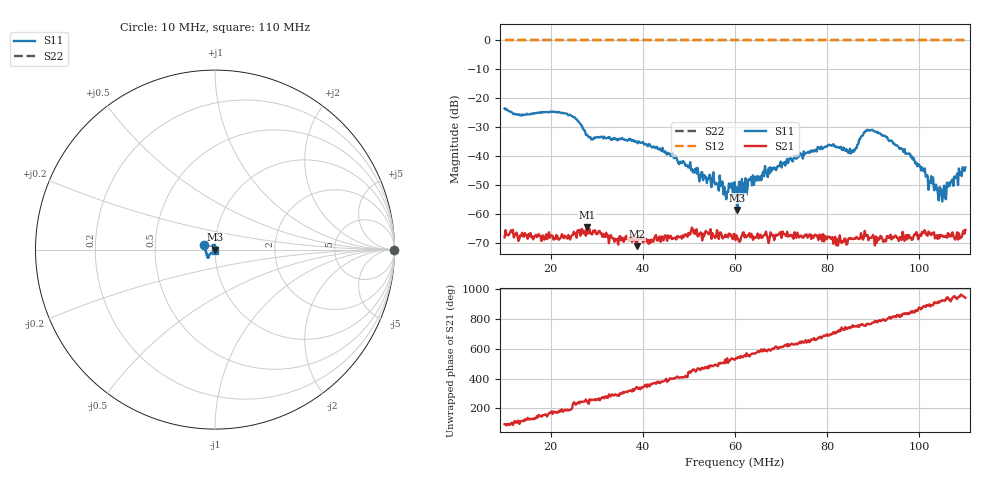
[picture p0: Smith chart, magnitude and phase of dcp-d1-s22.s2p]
! Anritsu VNA Master:  Model: MS2034B/10/19/501
! SN:  1337062
! /bd0/ovro-jan-2016/dcp-d1-s22.s2p
! Existing Calibration Information:
! TYPE:  Current Settings,  Active Cal Settings
! TIME:  01/08/2016 09:07:19 PM,  01/08/2016 08:43:08 PM
! INTERNAL TEMP:  41.8 C,  45.0 C
! # POINTS:  500,  500
! START FREQ:  10.000 MHz,  10.000 MHz
! STOP FREQ:  110.000 MHz,  110.000 MHz
! SOURCE POWER:  Low,  Low
! IFBW:  100 Hz,  100 Hz
! AVG FACTOR:  3 ,  3
! REF PLANE 1:  2.2245 m,  2.2245 m
! REF PLANE 2:  0 mm,  0 mm
! CAL TYPE:  1P2P S11,S21,  1P2P S11,S21
! CAL METHOD:  SOLT,  SOLT
! CAL LINE TYPE:  Coax,  Coax
! DUT PORT 1:  K-Conn(M),  K-Conn(M)
! DUT PORT 2:  N-Conn(M),  N-Conn(M)
! CAL STATUS:  OK: Accuracy High,  --
# GHZ S DB R 50.0
! FREQ.GHZ  S11DB  S11A  S21DB  S21A  S12DB  S12A  S22DB  S22A
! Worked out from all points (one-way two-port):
!   500 points, 10 MHz to 110 MHz, reference 50 ohm
!   highest |S21| = -64.52 dB at 27.84 MHz (marker M1); lowest = -71.0 dB at 38.66 MHz (marker M2)
!   lowest |S11| = -58.5 dB at 60.5 MHz (marker M3), VSWR 1.00, Z = 50.1 + j0.041 ohm
!   |S11| at or under -10 dB: start of sweep to end of sweep
!   |S22| runs from 0.0 to 0.0 dB; largest |S21 - S12| = 1
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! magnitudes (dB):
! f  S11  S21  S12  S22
! 10 MHz  -23.5  -68.0  0.0  0.0
! 23.03 MHz  -25.2  -67.4  0.0  0.0
! 26.83 MHz  -29.8  -65.1  0.0  0.0
! 27.84 MHz  -32.5  -64.5  0.0  0.0
! 38.66 MHz  -35.1  -71.0  0.0  0.0
! 43.47 MHz  -37.7  -68.0  0.0  0.0
! 50.88 MHz  -45.6  -65.5  0.0  0.0
! 56.89 MHz  -50.2  -66.3  0.0  0.0
! 57.9 MHz  -52.7  -67.1  0.0  0.0
! 59.1 MHz  -50.7  -67.2  0.0  0.0
! 60.1 MHz  -52.6  -68.9  0.0  0.0
! 60.5 MHz  -58.5  -68.3  0.0  0.0
! 63.51 MHz  -47.1  -66.7  0.0  0.0
! 76.73 MHz  -37.9  -67.3  0.0  0.0
! 80.94 MHz  -36.3  -68.5  0.0  0.0
! 85.55 MHz  -37.8  -68.6  0.0  0.0
! 88.76 MHz  -30.8  -67.2  0.0  0.0
! 93.37 MHz  -34.6  -68.2  0.0  0.0
! 97.98 MHz  -39.1  -68.2  0.0  0.0
! 104.6 MHz  -51.0  -67.1  0.0  0.0
! 108.8 MHz  -46.3  -68.4  0.0  0.0
! 110 MHz  -43.8  -65.4  0.0  0.0
